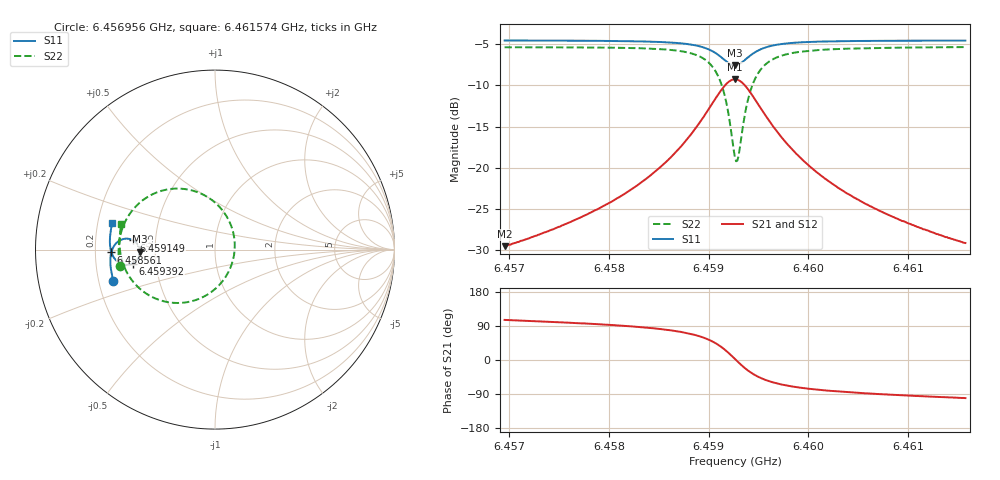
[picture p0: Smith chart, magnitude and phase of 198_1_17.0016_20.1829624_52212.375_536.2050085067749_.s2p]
#  HZ  S  RI  R  50.00
! Rohde & Schwarz Vector Network Analyzer
! Rohde-Schwarz,ZNB20-2Port,1311601062101988,3.16
! Created: UTC 3/20/2024, 11:00:56 PM
! freq[Hz]  re:S11  im:S11  re:S21  im:S21  re:S12  im:S12  re:S22  im:S22
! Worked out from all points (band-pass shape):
!   401 points, 6.456956 GHz to 6.461574 GHz, reference 50 ohm
!   highest |S21| = -9.26 dB at 6.459265 GHz (marker M1); lowest = -29.5 dB at 6.456956 GHz (marker M2)
!   |S21| within 3 dB of the highest: 6.459033 GHz to 6.459496 GHz (462.3 kHz wide, 0.00716 % of centre)
!   lowest |S11| = -7.6 dB at 6.459265 GHz (marker M3), VSWR 2.44, Z = 20.5 - j0.607 ohm
!   |S11| at or under -10 dB: nowhere
!   |S22| runs from -19.2 to -5.4 dB; largest |S21 - S12| = 0.013
!   S11 on the Smith chart (normalised r, x): 6.456956 GHz: 0.26, -0.14; 6.458561 GHz: 0.27, -0.01; 6.459149 GHz: 0.37, +0.05; 6.459392 GHz: 0.37, -0.07; 6.461574 GHz: 0.26, +0.12
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6.4569558e9  -0.5657 -0.175  -0.00916 0.0323  -0.00738 0.0323  -0.531 -0.0894
6.4577294e9  -0.5802 -0.1075  -0.00588 0.0502  -0.00332 0.0497  -0.5372 0.000914
6.458145e9  -0.5833 -0.066  -0.000368 0.0688  0.00287 0.0677  -0.5299 0.0661
6.4585029e9  -0.5796 -0.0234  0.0137 0.0986  0.0176 0.0959  -0.5047 0.1462
6.4585607e9  -0.5779 -0.0155  0.0178 0.1054  0.0219 0.1024  -0.4968 0.1628
6.4587685e9  -0.5649 0.0167  0.0453 0.1379  0.0493 0.133  -0.4457 0.2358
6.4589186e9  -0.5424 0.0431  0.0902 0.1687  0.0935 0.162  -0.3628 0.3007
6.4590571e9  -0.4987 0.061  0.1773 0.1855  0.1782 0.1781  -0.2041 0.3399
6.4591495e9  -0.4541 0.0507  0.2671 0.1545  0.2675 0.1488  -0.0377 0.2904
6.4592188e9  -0.4251 0.0188  0.3277 0.0829  0.3298 0.0776  0.0777 0.1616
6.4592649e9  -0.4181 -0.0122  0.3441 0.0153  0.3478 0.00833  0.11 0.0352
6.4592765e9  -0.4186 -0.0202  0.3439 -0.0024  0.3478 -0.00999  0.1098 0.00187
6.4592996e9  -0.4221 -0.0358  0.3385 -0.0371  0.3423 -0.0461  0.0987 -0.0637
6.4593458e9  -0.4377 -0.0617  0.3101 -0.0966  0.3122 -0.1086  0.0417 -0.1763
6.4593919e9  -0.4595 -0.0781  0.2684 -0.1377  0.2676 -0.1508  -0.0426 -0.2511
6.4594843e9  -0.5028 -0.0849  0.1842 -0.1689  0.1781 -0.1804  -0.2103 -0.2975
6.4596344e9  -0.5466 -0.0644  0.0965 -0.1556  0.0882 -0.1616  -0.3771 -0.2489
6.459796e9  -0.5681 -0.0369  0.0518 -0.128  0.0443 -0.1307  -0.4576 -0.1776
6.4600385e9  -0.581 -0.00145  0.0226 -0.0967  0.0169 -0.0974  -0.5057 -0.0957
6.4603849e9  -0.5855 0.0397  0.00659 -0.07  0.00256 -0.0697  -0.5276 -0.0167
6.460812e9  -0.5838 0.0826  -0.00121 -0.0516  -0.0041 -0.0508  -0.5321 0.0513
6.4615741e9  -0.5717 0.1501  -0.00642 -0.0345  -0.00812 -0.0335  -0.5212 0.141
